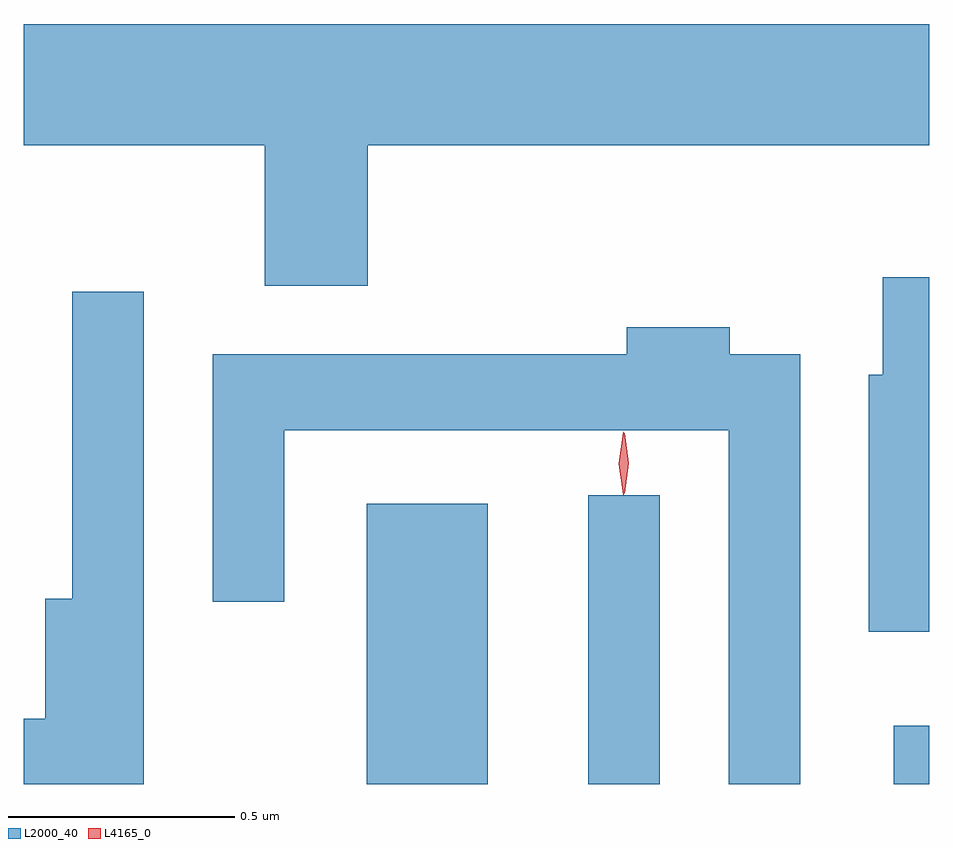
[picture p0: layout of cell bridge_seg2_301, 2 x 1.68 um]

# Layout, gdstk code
import gdstk
lib = gdstk.Library(unit=1e-6, precision=1e-09)
def R(c, l, rs):  # rectangles x0, y0, x1, y1
    for r in rs: c.add(gdstk.rectangle(r[:2], r[2:], *l))
def P(c, l, *ps):  # polygons
    for p in ps: c.add(gdstk.Polygon(p, *l))
L2000_40 = (2000, 40)
L4165_0 = (4165, 0)

bridge_seg2_301 = lib.new_cell('bridge_seg2_301')
R(bridge_seg2_301, L2000_40, [(544.196,1053.565,544.464,1054.184), (544.686,1053.565,544.844,1054.203), (545.361,1053.565,545.439,1053.694)])
P(bridge_seg2_301, L2000_40, [(544.199,1054.976),(545.439,1054.976),(545.439,1055.244),(543.439,1055.244),(543.439,1054.976),(543.971,1054.976),(543.971,1054.666),(544.199,1054.666)],
  [(545.439,1054.684),(545.336,1054.684),(545.336,1054.469),(545.306,1054.469),(545.306,1053.901),(545.439,1053.901)],
  [(543.704,1054.653),(543.546,1054.653),(543.546,1053.974),(543.486,1053.974),(543.486,1053.709),(543.439,1053.709),(543.439,1053.565),(543.704,1053.565)],
  [(545.154,1054.514),(544.999,1054.514),(544.999,1054.574),(544.771,1054.574),(544.771,1054.514),(543.856,1054.514),(543.856,1053.968),(544.014,1053.968),(544.014,1054.346),(544.996,1054.346),(544.996,1053.565),(545.154,1053.565)])
P(bridge_seg2_301, L4165_0, [(544.765,1054.207),(544.765,1054.207),(544.755,1054.274),(544.765,1054.34),(544.765,1054.34),(544.766,1054.34),(544.775,1054.274),(544.766,1054.207)],
  [(544.763,1054.204),(544.763,1054.204),(544.753,1054.273),(544.763,1054.342),(544.763,1054.343),(544.764,1054.342),(544.773,1054.273),(544.764,1054.204)])

lib.write_gds('bridge_seg2_301.gds')
